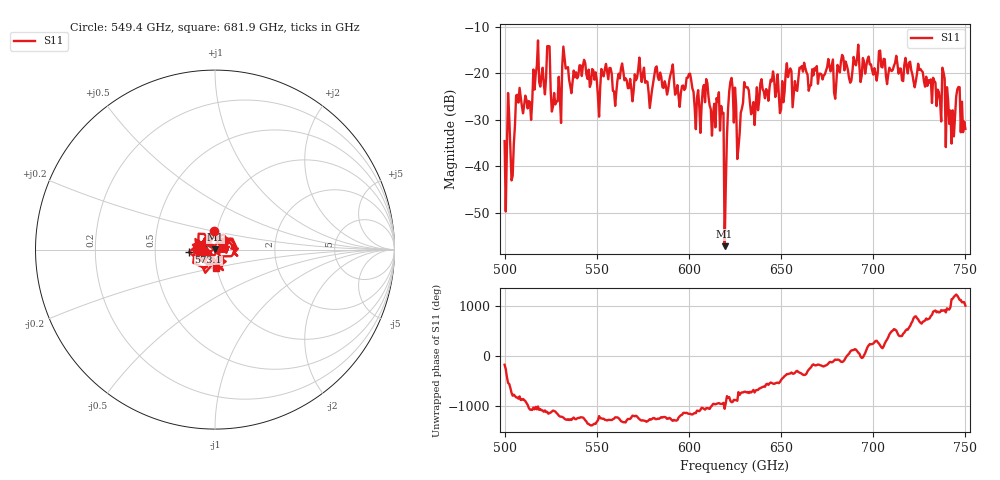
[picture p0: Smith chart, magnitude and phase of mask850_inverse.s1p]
!Created with skrf (http://scikit-rf.org).
# GHz S MA R 50.0
!freq magS11 angS11
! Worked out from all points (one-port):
!   401 points, 500 GHz to 750 GHz, reference 50 ohm
!   lowest |S11| = -57.1 dB at 619.4 GHz (marker M1), VSWR 1.00, Z = 50.1 + j0.0736 ohm
!   |S11| at or under -10 dB: start of sweep to end of sweep
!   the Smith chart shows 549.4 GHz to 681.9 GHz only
!   S11 on the Smith chart (normalised r, x): 549.4 GHz: 0.97, +0.20; 573.1 GHz: 0.74, -0.02; 681.9 GHz: 0.99, -0.20
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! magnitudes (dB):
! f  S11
! 500 GHz  -34.6
! 504.4 GHz  -42.0
! 507.5 GHz  -26.3
! 513.8 GHz  -26.2
! 516.9 GHz  -20.2
! 523.8 GHz  -14.2
! 526.9 GHz  -24.3
! 531.2 GHz  -18.5
! 549.4 GHz  -19.8
! 562.5 GHz  -21.1
! 573.1 GHz  -16.7
! 593.8 GHz  -22.6
! 616.2 GHz  -24.1
! 619.4 GHz  -57.1
! 620.6 GHz  -33.7
! 622.5 GHz  -21.9
! 625 GHz  -23.1
! 627.5 GHz  -33.1
! 631.2 GHz  -23.1
! 635 GHz  -26.2
! 656.2 GHz  -27.3
! 681.9 GHz  -19.8
! 687.5 GHz  -22.1
! 718.8 GHz  -20.1
! 738.8 GHz  -21.2
! 742.5 GHz  -35.1
! 745.6 GHz  -23.5
! 750 GHz  -32.0
